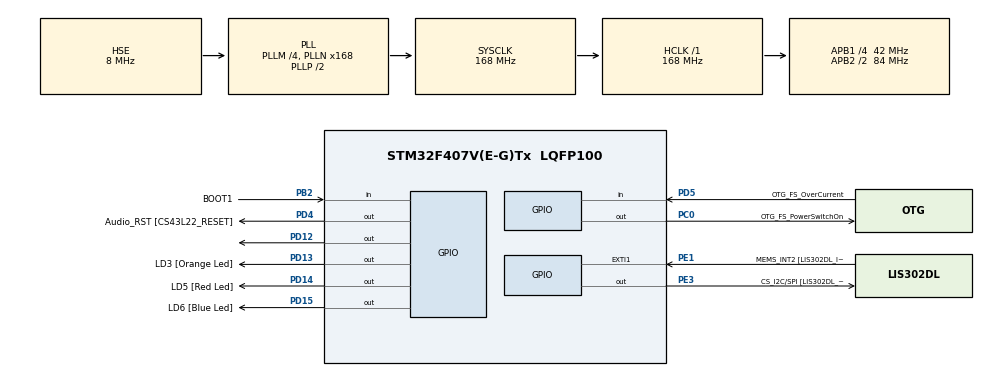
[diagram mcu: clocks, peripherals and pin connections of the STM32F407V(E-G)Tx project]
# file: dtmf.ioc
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Mcu.Family=STM32F4
Mcu.Name=STM32F407V(E-G)Tx
Mcu.Package=LQFP100
NVIC.PriorityGroup=NVIC_PRIORITYGROUP_0
PA10.GPIO_Label=OTG_FS_ID
PA10.GPIO_Mode=GPIO_MODE_AF_PP
PA10.GPIO_PuPd=GPIO_NOPULL
PA10.GPIO_Speed=GPIO_SPEED_FREQ_LOW
PA10.Signal=USB_OTG_FS_ID
PA11.GPIO_Label=OTG_FS_DM
PA11.GPIO_Mode=GPIO_MODE_AF_PP
PA11.GPIO_PuPd=GPIO_NOPULL
PA11.GPIO_Speed=GPIO_SPEED_FREQ_LOW
PA11.Signal=USB_OTG_FS_DM
PA12.GPIO_Label=OTG_FS_DP
PA12.GPIO_Mode=GPIO_MODE_AF_PP
PA12.GPIO_PuPd=GPIO_NOPULL
PA12.GPIO_Speed=GPIO_SPEED_FREQ_LOW
PA12.Signal=USB_OTG_FS_DP
PA13.GPIO_Label=SWDIO
PA13.Mode=Serial_Wire
PA13.Signal=SYS_JTMS-SWDIO
PA14.GPIO_Label=SWCLK
PA14.Mode=Serial_Wire
PA14.Signal=SYS_JTCK-SWCLK
PA4.GPIO_Label=I2S3_WS [CS43L22_LRCK]
PA4.GPIO_Mode=GPIO_MODE_AF_PP
PA4.GPIO_PuPd=GPIO_NOPULL
PA4.GPIO_Speed=GPIO_SPEED_FREQ_LOW
PA4.Signal=I2S3_WS
PA5.GPIO_Label=SPI1_SCK [LIS302DL_SCL/SPC]
PA5.GPIO_Mode=GPIO_MODE_AF_PP
PA5.GPIO_PuPd=GPIO_NOPULL
PA5.GPIO_Speed=GPIO_SPEED_FREQ_LOW
PA5.Signal=SPI1_SCK
PA6.GPIO_Label=SPI1_MISO [LIS302DL_SDO]
PA6.GPIO_Mode=GPIO_MODE_AF_PP
PA6.GPIO_PuPd=GPIO_NOPULL
PA6.GPIO_Speed=GPIO_SPEED_FREQ_LOW
PA6.Signal=SPI1_MISO
PA7.GPIO_Label=SPI1_MOSI [LIS302DL_SDA/SDI/SDO]
PA7.GPIO_Mode=GPIO_MODE_AF_PP
PA7.GPIO_PuPd=GPIO_NOPULL
PA7.GPIO_Speed=GPIO_SPEED_FREQ_LOW
PA7.Signal=SPI1_MOSI
PA9.GPIO_Label=VBUS_FS
PA9.GPIO_Mode=GPIO_MODE_INPUT
PA9.GPIO_PuPd=GPIO_NOPULL
PA9.Signal=USB_OTG_FS_VBUS
PB10.GPIO_Label=CLK_IN [MP45DT02_CLK]
PB10.GPIO_Mode=GPIO_MODE_AF_PP
PB10.GPIO_PuPd=GPIO_NOPULL
PB10.GPIO_Speed=GPIO_SPEED_FREQ_LOW
PB10.Signal=I2S2_CK
PB2.GPIO_Label=BOOT1
PB2.GPIO_Mode=GPIO_MODE_INPUT
PB2.GPIO_PuPd=GPIO_NOPULL
PB2.Signal=GPIO_Input
PB3.GPIO_Label=SWO
PB3.Signal=SYS_JTDO-SWO
PB6.GPIO_Label=Audio_SCL [CS43L22_SCL]
PB6.GPIO_Mode=GPIO_MODE_AF_OD
PB6.GPIO_PuPd=GPIO_NOPULL
PB6.GPIO_Speed=GPIO_SPEED_FREQ_LOW
PB6.Signal=I2C1_SCL
PB9.GPIO_Label=Audio_SDA [CS43L22_SDA]
PB9.GPIO_Mode=GPIO_MODE_AF_OD
PB9.GPIO_PuPd=GPIO_NOPULL
PB9.GPIO_Speed=GPIO_SPEED_FREQ_LOW
PB9.Signal=I2C1_SDA
PC0.GPIO_Label=OTG_FS_PowerSwitchOn
PC0.GPIO_PuPd=GPIO_NOPULL
PC0.GPIO_Speed=GPIO_SPEED_FREQ_LOW
PC0.PinState=GPIO_PIN_SET
PC0.Signal=GPIO_Output
PC10.GPIO_Label=I2S3_SCK [CS43L22_SCLK]
PC10.GPIO_Mode=GPIO_MODE_AF_PP
PC10.GPIO_PuPd=GPIO_NOPULL
PC10.GPIO_Speed=GPIO_SPEED_FREQ_LOW
PC10.Signal=I2S3_CK
PC12.GPIO_Label=I2S3_SD [CS43L22_SDIN]
PC12.GPIO_Mode=GPIO_MODE_AF_PP
PC12.GPIO_PuPd=GPIO_NOPULL
PC12.GPIO_Speed=GPIO_SPEED_FREQ_LOW
PC12.Signal=I2S3_SD
PC14-OSC32_IN.GPIO_Label=PC14-OSC32_IN
PC14-OSC32_IN.Signal=RCC_OSC32_IN
PC15-OSC32_OUT.GPIO_Label=PC15-OSC32_OUT
PC15-OSC32_OUT.Signal=RCC_OSC32_OUT
PC3.GPIO_Label=PDM_OUT [MP45DT02_DOUT]
PC3.GPIO_Mode=GPIO_MODE_AF_PP
PC3.GPIO_PuPd=GPIO_NOPULL
PC3.GPIO_Speed=GPIO_SPEED_FREQ_LOW
PC3.Signal=I2S2_SD
PC7.GPIO_Label=I2S3_MCK [CS43L22_MCLK]
PC7.GPIO_Mode=GPIO_MODE_AF_PP
PC7.GPIO_PuPd=GPIO_NOPULL
PC7.GPIO_Speed=GPIO_SPEED_FREQ_LOW
PC7.Signal=I2S3_MCK
PD12.Signal=GPIO_Output
PD13.GPIO_Label=LD3 [Orange Led]
PD13.GPIO_PuPd=GPIO_NOPULL
PD13.GPIO_Speed=GPIO_SPEED_FREQ_LOW
PD13.Signal=GPIO_Output
PD14.GPIO_Label=LD5 [Red Led]
PD14.GPIO_PuPd=GPIO_NOPULL
PD14.GPIO_Speed=GPIO_SPEED_FREQ_LOW
PD14.Signal=GPIO_Output
PD15.GPIO_Label=LD6 [Blue Led]
PD15.GPIO_PuPd=GPIO_NOPULL
PD15.GPIO_Speed=GPIO_SPEED_FREQ_LOW
PD15.Signal=GPIO_Output
PD4.GPIO_Label=Audio_RST [CS43L22_RESET]
PD4.GPIO_PuPd=GPIO_NOPULL
PD4.GPIO_Speed=GPIO_SPEED_FREQ_LOW
PD4.Signal=GPIO_Output
PD5.GPIO_Label=OTG_FS_OverCurrent
PD5.GPIO_Mode=GPIO_MODE_INPUT
PD5.GPIO_PuPd=GPIO_NOPULL
PD5.Signal=GPIO_Input
PE1.GPIO_Label=MEMS_INT2 [LIS302DL_INT2]
PE1.GPIO_ModeDefaultEXTI=GPIO_MODE_EVT_RISING
PE1.GPIO_PuPd=GPIO_NOPULL
PE1.Signal=GPXTI1
PE3.GPIO_Label=CS_I2C/SPI [LIS302DL_CS_I2C/SPI]
PE3.GPIO_PuPd=GPIO_NOPULL
PE3.GPIO_Speed=GPIO_SPEED_FREQ_LOW
PE3.Signal=GPIO_Output
PH0-OSC_IN.GPIO_Label=PH0-OSC_IN
PH0-OSC_IN.Mode=HSE-External-Oscillator
PH0-OSC_IN.Signal=RCC_OSC_IN
PH1-OSC_OUT.GPIO_Label=PH1-OSC_OUT
PH1-OSC_OUT.Mode=HSE-External-Oscillator
PH1-OSC_OUT.Signal=RCC_OSC_OUT
ProjectManager.HeapSize=0x200
ProjectManager.StackSize=0x400
ProjectManager.TargetToolchain=STM32CubeIDE
RCC.48MHZClocksFreq_Value=48000000
RCC.AHBFreq_Value=168000000
RCC.APB1CLKDivider=RCC_HCLK_DIV4
RCC.APB1Freq_Value=42000000
RCC.APB1TimFreq_Value=84000000
RCC.APB2CLKDivider=RCC_HCLK_DIV2
RCC.APB2Freq_Value=84000000
RCC.APB2TimFreq_Value=168000000
RCC.CortexFreq_Value=168000000
RCC.HCLKFreq_Value=168000000
RCC.HSE_VALUE=8000000
RCC.HSI_VALUE=16000000
RCC.LSE_VALUE=32768
RCC.PLLM=4
RCC.PLLN=168
RCC.PLLQ=7
RCC.PLLSourceVirtual=RCC_PLLSOURCE_HSE
RCC.SYSCLKFreq_VALUE=168000000
RCC.SYSCLKSource=RCC_SYSCLKSOURCE_PLLCLK
RCC.VCOOutputFreq_Value=336000000
board=STM32F407G-DISC1

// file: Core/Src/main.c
/* USER CODE BEGIN Header */
/**
  ******************************************************************************
  * @file           : main.c
  * @brief          : Main program body
  ******************************************************************************
  * @attention
  *
  * Copyright (c) 2026 STMicroelectronics.
  * All rights reserved.
  *
  * This software is licensed under terms that can be found in the LICENSE file
  * in the root directory of this software component.
  * If no LICENSE file comes with this software, it is provided AS-IS.
  *
  ******************************************************************************
  */
/* USER CODE END Header */
#include "main.h"

/* USER CODE BEGIN Includes */
#include <stdio.h>
#include "dtmf_q15.h"
#include "test_signal.h"
#include "test_signal_q15.h"
/* USER CODE END Includes */

/* USER CODE BEGIN PD */
#define N 800
/* USER CODE END PD */

void SystemClock_Config(void);
static void MX_GPIO_Init(void);

int main(void)
{

  /* MCU Configuration--------------------------------------------------------*/

  /* Reset of all peripherals, Initializes the Flash interface and the Systick. */  HAL_Init();

  /* Configure the system clock */
  SystemClock_Config();

  /* Initialize all configured peripherals */
  MX_GPIO_Init();
  /* USER CODE BEGIN 2 */
  CoreDebug->DEMCR |= CoreDebug_DEMCR_TRCENA_Msk;  // enable the trace/debug block
  DWT->CYCCNT = 0;                                  // reset the counter
  DWT->CTRL  |= DWT_CTRL_CYCCNTENA_Msk;             // start counting

  const float *volatile sig_f = test_signal;
  volatile char sink_f;
  const int16_t *volatile sig_q = test_signal_q15;
  volatile char sink_q;

  uint32_t start = DWT->CYCCNT;
  sink_f = detect((const float *)sig_f, N);
  char key_f = sink_f;
  uint32_t cycles_f = DWT->CYCCNT - start;

  start = DWT->CYCCNT;   /* reset the start point before the second measurement */
  sink_q = detect_q15((const int16_t *)sig_q, N);
  char key_q = sink_q;
  uint32_t cycles_q = DWT->CYCCNT - start;

  char buf[48];
  snprintf(buf, sizeof buf, "float key %c, cycles %lu\n", key_f, (unsigned long)cycles_f);
  for (const char *p = buf; *p; p++) {
      ITM_SendChar(*p);
  }

  snprintf(buf, sizeof buf, "q15 key %c, cycles %lu\n", key_q, (unsigned long)cycles_q);
  for (const char *p = buf; *p; p++) {
      ITM_SendChar(*p);
  }

  /* USER CODE END 2 */

  /* Infinite loop */
  while (1)
  {

    /* USER CODE BEGIN 3 */
	  /* heartbeat: green LED toggles after the results are printed, so a hang is visible */
	  HAL_GPIO_TogglePin(GPIOD, GPIO_PIN_12);
	  HAL_Delay(500);
  }
  /* USER CODE END 3 */
}

void SystemClock_Config(void)
{
  RCC_OscInitTypeDef RCC_OscInitStruct = {0};
  RCC_ClkInitTypeDef RCC_ClkInitStruct = {0};

  /** Configure the main internal regulator output voltage
  */
  __HAL_RCC_PWR_CLK_ENABLE();
  __HAL_PWR_VOLTAGESCALING_CONFIG(PWR_REGULATOR_VOLTAGE_SCALE1);

  /** Initializes the RCC Oscillators according to the specified parameters
  * in the RCC_OscInitTypeDef structure.
  */
  RCC_OscInitStruct.OscillatorType = RCC_OSCILLATORTYPE_HSE;
  RCC_OscInitStruct.HSEState = RCC_HSE_ON;
  RCC_OscInitStruct.PLL.PLLState = RCC_PLL_ON;
  RCC_OscInitStruct.PLL.PLLSource = RCC_PLLSOURCE_HSE;
  RCC_OscInitStruct.PLL.PLLM = 4;
  RCC_OscInitStruct.PLL.PLLN = 168;
  RCC_OscInitStruct.PLL.PLLP = RCC_PLLP_DIV2;
  RCC_OscInitStruct.PLL.PLLQ = 7;
  if (HAL_RCC_OscConfig(&RCC_OscInitStruct) != HAL_OK)
  {
    Error_Handler();
  }

  /** Initializes the CPU, AHB and APB buses clocks
  */
  RCC_ClkInitStruct.ClockType = RCC_CLOCKTYPE_HCLK|RCC_CLOCKTYPE_SYSCLK
                              |RCC_CLOCKTYPE_PCLK1|RCC_CLOCKTYPE_PCLK2;
  RCC_ClkInitStruct.SYSCLKSource = RCC_SYSCLKSOURCE_PLLCLK;
  RCC_ClkInitStruct.AHBCLKDivider = RCC_SYSCLK_DIV1;
  RCC_ClkInitStruct.APB1CLKDivider = RCC_HCLK_DIV4;
  RCC_ClkInitStruct.APB2CLKDivider = RCC_HCLK_DIV2;

  if (HAL_RCC_ClockConfig(&RCC_ClkInitStruct, FLASH_LATENCY_5) != HAL_OK)
  {
    Error_Handler();
  }
}

static void MX_GPIO_Init(void)
{
  GPIO_InitTypeDef GPIO_InitStruct = {0};

  /* GPIO Ports Clock Enable */
  __HAL_RCC_GPIOE_CLK_ENABLE();
  __HAL_RCC_GPIOC_CLK_ENABLE();
  __HAL_RCC_GPIOH_CLK_ENABLE();
  __HAL_RCC_GPIOA_CLK_ENABLE();
  __HAL_RCC_GPIOB_CLK_ENABLE();
  __HAL_RCC_GPIOD_CLK_ENABLE();

  /*Configure GPIO pin Output Level */
  HAL_GPIO_WritePin(CS_I2C_SPI_GPIO_Port, CS_I2C_SPI_Pin, GPIO_PIN_RESET);

  /*Configure GPIO pin Output Level */
  HAL_GPIO_WritePin(OTG_FS_PowerSwitchOn_GPIO_Port, OTG_FS_PowerSwitchOn_Pin, GPIO_PIN_SET);

  /*Configure GPIO pin Output Level */
  HAL_GPIO_WritePin(GPIOD, GPIO_PIN_12|LD3_Pin|LD5_Pin|LD6_Pin
                          |Audio_RST_Pin, GPIO_PIN_RESET);

  /*Configure GPIO pin : CS_I2C_SPI_Pin */
  GPIO_InitStruct.Pin = CS_I2C_SPI_Pin;
  GPIO_InitStruct.Mode = GPIO_MODE_OUTPUT_PP;
  GPIO_InitStruct.Pull = GPIO_NOPULL;
  GPIO_InitStruct.Speed = GPIO_SPEED_FREQ_LOW;
  HAL_GPIO_Init(CS_I2C_SPI_GPIO_Port, &GPIO_InitStruct);

  /*Configure GPIO pin : OTG_FS_PowerSwitchOn_Pin */
  GPIO_InitStruct.Pin = OTG_FS_PowerSwitchOn_Pin;
  GPIO_InitStruct.Mode = GPIO_MODE_OUTPUT_PP;
  GPIO_InitStruct.Pull = GPIO_NOPULL;
  GPIO_InitStruct.Speed = GPIO_SPEED_FREQ_LOW;
  HAL_GPIO_Init(OTG_FS_PowerSwitchOn_GPIO_Port, &GPIO_InitStruct);

  /*Configure GPIO pin : PDM_OUT_Pin */
  GPIO_InitStruct.Pin = PDM_OUT_Pin;
  GPIO_InitStruct.Mode = GPIO_MODE_AF_PP;
  GPIO_InitStruct.Pull = GPIO_NOPULL;
  GPIO_InitStruct.Speed = GPIO_SPEED_FREQ_LOW;
  GPIO_InitStruct.Alternate = GPIO_AF5_SPI2;
  HAL_GPIO_Init(PDM_OUT_GPIO_Port, &GPIO_InitStruct);

  /*Configure GPIO pin : I2S3_WS_Pin */
  GPIO_InitStruct.Pin = I2S3_WS_Pin;
  GPIO_InitStruct.Mode = GPIO_MODE_AF_PP;
  GPIO_InitStruct.Pull = GPIO_NOPULL;
  GPIO_InitStruct.Speed = GPIO_SPEED_FREQ_LOW;
  GPIO_InitStruct.Alternate = GPIO_AF6_SPI3;
  HAL_GPIO_Init(I2S3_WS_GPIO_Port, &GPIO_InitStruct);

  /*Configure GPIO pins : SPI1_SCK_Pin SPI1_MISO_Pin SPI1_MOSI_Pin */
  GPIO_InitStruct.Pin = SPI1_SCK_Pin|SPI1_MISO_Pin|SPI1_MOSI_Pin;
  GPIO_InitStruct.Mode = GPIO_MODE_AF_PP;
  GPIO_InitStruct.Pull = GPIO_NOPULL;
  GPIO_InitStruct.Speed = GPIO_SPEED_FREQ_LOW;
  GPIO_InitStruct.Alternate = GPIO_AF5_SPI1;
  HAL_GPIO_Init(GPIOA, &GPIO_InitStruct);

  /*Configure GPIO pin : BOOT1_Pin */
  GPIO_InitStruct.Pin = BOOT1_Pin;
  GPIO_InitStruct.Mode = GPIO_MODE_INPUT;
  GPIO_InitStruct.Pull = GPIO_NOPULL;
  HAL_GPIO_Init(BOOT1_GPIO_Port, &GPIO_InitStruct);

  /*Configure GPIO pin : CLK_IN_Pin */
  GPIO_InitStruct.Pin = CLK_IN_Pin;
  GPIO_InitStruct.Mode = GPIO_MODE_AF_PP;
  GPIO_InitStruct.Pull = GPIO_NOPULL;
  GPIO_InitStruct.Speed = GPIO_SPEED_FREQ_LOW;
  GPIO_InitStruct.Alternate = GPIO_AF5_SPI2;
  HAL_GPIO_Init(CLK_IN_GPIO_Port, &GPIO_InitStruct);

  /*Configure GPIO pins : PD12 LD3_Pin LD5_Pin LD6_Pin
                           Audio_RST_Pin */
  GPIO_InitStruct.Pin = GPIO_PIN_12|LD3_Pin|LD5_Pin|LD6_Pin
                          |Audio_RST_Pin;
  GPIO_InitStruct.Mode = GPIO_MODE_OUTPUT_PP;
  GPIO_InitStruct.Pull = GPIO_NOPULL;
  GPIO_InitStruct.Speed = GPIO_SPEED_FREQ_LOW;
  HAL_GPIO_Init(GPIOD, &GPIO_InitStruct);

  /*Configure GPIO pins : I2S3_MCK_Pin I2S3_SCK_Pin I2S3_SD_Pin */
  GPIO_InitStruct.Pin = I2S3_MCK_Pin|I2S3_SCK_Pin|I2S3_SD_Pin;
  GPIO_InitStruct.Mode = GPIO_MODE_AF_PP;
  GPIO_InitStruct.Pull = GPIO_NOPULL;
  GPIO_InitStruct.Speed = GPIO_SPEED_FREQ_LOW;
  GPIO_InitStruct.Alternate = GPIO_AF6_SPI3;
  HAL_GPIO_Init(GPIOC, &GPIO_InitStruct);

  /*Configure GPIO pin : VBUS_FS_Pin */
  GPIO_InitStruct.Pin = VBUS_FS_Pin;
  GPIO_InitStruct.Mode = GPIO_MODE_INPUT;
  GPIO_InitStruct.Pull = GPIO_NOPULL;
  HAL_GPIO_Init(VBUS_FS_GPIO_Port, &GPIO_InitStruct);

  /*Configure GPIO pins : OTG_FS_ID_Pin OTG_FS_DM_Pin OTG_FS_DP_Pin */
  GPIO_InitStruct.Pin = OTG_FS_ID_Pin|OTG_FS_DM_Pin|OTG_FS_DP_Pin;
  GPIO_InitStruct.Mode = GPIO_MODE_AF_PP;
  GPIO_InitStruct.Pull = GPIO_NOPULL;
  GPIO_InitStruct.Speed = GPIO_SPEED_FREQ_LOW;
  GPIO_InitStruct.Alternate = GPIO_AF10_OTG_FS;
  HAL_GPIO_Init(GPIOA, &GPIO_InitStruct);

  /*Configure GPIO pin : OTG_FS_OverCurrent_Pin */
  GPIO_InitStruct.Pin = OTG_FS_OverCurrent_Pin;
  GPIO_InitStruct.Mode = GPIO_MODE_INPUT;
  GPIO_InitStruct.Pull = GPIO_NOPULL;
  HAL_GPIO_Init(OTG_FS_OverCurrent_GPIO_Port, &GPIO_InitStruct);

  /*Configure GPIO pins : Audio_SCL_Pin Audio_SDA_Pin */
  GPIO_InitStruct.Pin = Audio_SCL_Pin|Audio_SDA_Pin;
  GPIO_InitStruct.Mode = GPIO_MODE_AF_OD;
  GPIO_InitStruct.Pull = GPIO_NOPULL;
  GPIO_InitStruct.Speed = GPIO_SPEED_FREQ_LOW;
  GPIO_InitStruct.Alternate = GPIO_AF4_I2C1;
  HAL_GPIO_Init(GPIOB, &GPIO_InitStruct);

  /*Configure GPIO pin : MEMS_INT2_Pin */
  GPIO_InitStruct.Pin = MEMS_INT2_Pin;
  GPIO_InitStruct.Mode = GPIO_MODE_EVT_RISING;
  GPIO_InitStruct.Pull = GPIO_NOPULL;
  HAL_GPIO_Init(MEMS_INT2_GPIO_Port, &GPIO_InitStruct);

}

void Error_Handler(void)
{
  __disable_irq();
  while (1)
  {
  }
}
